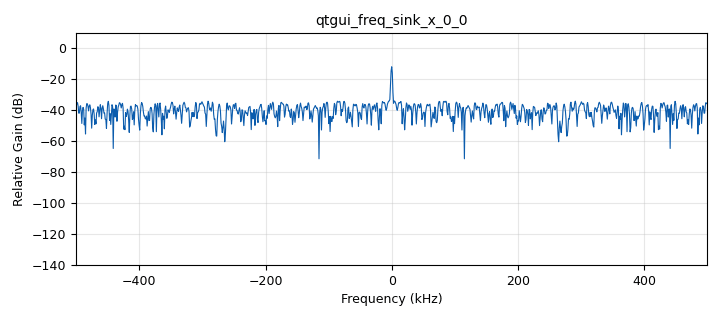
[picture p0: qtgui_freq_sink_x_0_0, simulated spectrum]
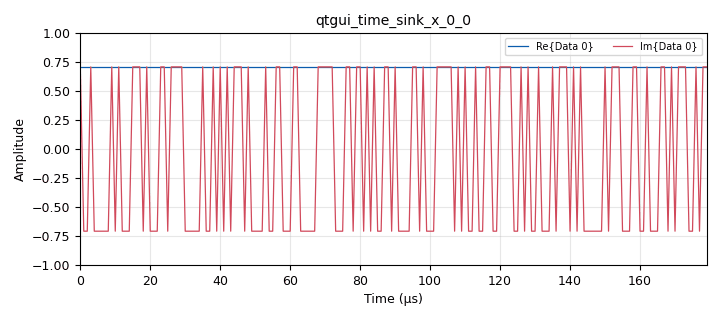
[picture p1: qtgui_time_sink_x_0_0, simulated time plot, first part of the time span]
<?xml version='1.0' encoding='utf-8'?>
<?grc format='1' created='3.7.10'?>
<flow_graph>
<block>
<key>options</key>
<param><key>id</key><value>top_block</value></param>
<param><key>generate_options</key><value>qt_gui</value></param>
</block>
<block>
<key>variable</key>
<param><key>id</key><value>centre_frequency</value></param>
<param><key>value</key><value>900e6</value></param>
</block>
<block>
<key>variable</key>
<param><key>id</key><value>samp_rate</value></param>
<param><key>value</key><value>1e6</value></param>
</block>
<block>
<key>digital_glfsr_source_x</key>
<param><key>id</key><value>digital_glfsr_source_x_0</value></param>
<param><key>degree</key><value>10</value></param>
<param><key>mask</key><value>0</value></param>
<param><key>repeat</key><value>True</value></param>
<param><key>seed</key><value>1</value></param>
<param><key>type</key><value>byte</value></param>
</block>
<block>
<key>dtv_dvbt2_modulator_bc</key>
<param><key>id</key><value>qpsk_dvbt2_modulator_bc_0</value></param>
<param><key>rotation</key><value>ROTATION_OFF</value></param>
<param><key>constellation</key><value>MOD_QPSK</value></param>
<param><key>framesize</key><value>FECFRAME_NORMAL</value></param>
</block>
<block>
<key>qtgui_freq_sink_x</key>
<param><key>id</key><value>qtgui_freq_sink_x_0</value></param>
<param><key>bw</key><value>samp_rate</value></param>
<param><key>fc</key><value>0</value></param>
<param><key>fftsize</key><value>1024</value></param>
<param><key>gui_hint</key><value>tab@1</value></param>
<param><key>showports</key><value>True</value></param>
<param><key>type</key><value>complex</value></param>
<param><key>wintype</key><value>firdes.WIN_BLACKMAN_hARRIS</value></param>
</block>
<block>
<key>qtgui_freq_sink_x</key>
<param><key>id</key><value>qtgui_freq_sink_x_0_0</value></param>
<param><key>bw</key><value>samp_rate</value></param>
<param><key>fc</key><value>0</value></param>
<param><key>fftsize</key><value>1024</value></param>
<param><key>gui_hint</key><value>tab0@1</value></param>
<param><key>showports</key><value>True</value></param>
<param><key>type</key><value>complex</value></param>
<param><key>wintype</key><value>firdes.WIN_BLACKMAN_hARRIS</value></param>
</block>
<block>
<key>qtgui_time_sink_x</key>
<param><key>id</key><value>qtgui_time_sink_x_0</value></param>
<param><key>gui_hint</key><value>tab@0</value></param>
<param><key>color1</key><value>"blue"</value></param>
<param><key>label1</key><value></value></param>
<param><key>color2</key><value>"red"</value></param>
<param><key>label2</key><value></value></param>
<param><key>size</key><value>1024</value></param>
<param><key>srate</key><value>samp_rate</value></param>
<param><key>type</key><value>complex</value></param>
</block>
<block>
<key>qtgui_time_sink_x</key>
<param><key>id</key><value>qtgui_time_sink_x_0_0</value></param>
<param><key>gui_hint</key><value>tab0@0</value></param>
<param><key>color1</key><value>"blue"</value></param>
<param><key>label1</key><value></value></param>
<param><key>color2</key><value>"red"</value></param>
<param><key>label2</key><value></value></param>
<param><key>size</key><value>1024</value></param>
<param><key>srate</key><value>samp_rate</value></param>
<param><key>type</key><value>complex</value></param>
</block>
<block>
<key>qtgui_tab_widget</key>
<param><key>id</key><value>tab</value></param>
<param><key>label0</key><value>RX time</value></param>
<param><key>label1</key><value>RX frequency</value></param>
<param><key>num_tabs</key><value>2</value></param>
</block>
<block>
<key>qtgui_tab_widget</key>
<param><key>id</key><value>tab0</value></param>
<param><key>label0</key><value>TX time</value></param>
<param><key>label1</key><value>TX frequency</value></param>
<param><key>num_tabs</key><value>2</value></param>
</block>
<block>
<key>uhd_usrp_sink</key>
<param><key>id</key><value>uhd_usrp_sink_0</value></param>
<param><key>ant0</key><value></value></param>
<param><key>center_freq0</key><value>centre_frequency</value></param>
<param><key>norm_gain0</key><value>False</value></param>
<param><key>gain0</key><value>0</value></param>
<param><key>clock_rate</key><value>0.0</value></param>
<param><key>dev_args</key><value>""</value></param>
<param><key>type</key><value>fc32</value></param>
<param><key>samp_rate</key><value>samp_rate</value></param>
<param><key>hide_cmd_port</key><value>False</value></param>
<param><key>hide_lo_controls</key><value>True</value></param>
<param><key>sync</key><value></value></param>
<param><key>len_tag_name</key><value></value></param>
</block>
<block>
<key>uhd_usrp_source</key>
<param><key>id</key><value>uhd_usrp_source_0</value></param>
<param><key>ant0</key><value>RX2</value></param>
<param><key>bw0</key><value>samp_rate</value></param>
<param><key>center_freq0</key><value>centre_frequency</value></param>
<param><key>dc_offs_enb0</key><value>""</value></param>
<param><key>iq_imbal_enb0</key><value>""</value></param>
<param><key>norm_gain0</key><value>False</value></param>
<param><key>gain0</key><value>0</value></param>
<param><key>clock_rate</key><value>0.0</value></param>
<param><key>dev_args</key><value>""</value></param>
<param><key>type</key><value>fc32</value></param>
<param><key>samp_rate</key><value>samp_rate</value></param>
<param><key>hide_cmd_port</key><value>False</value></param>
<param><key>hide_lo_controls</key><value>True</value></param>
<param><key>sync</key><value></value></param>
</block>
<connection><source_block_id>digital_glfsr_source_x_0</source_block_id><sink_block_id>qpsk_dvbt2_modulator_bc_0</sink_block_id><source_key>0</source_key><sink_key>0</sink_key></connection>
<connection><source_block_id>qpsk_dvbt2_modulator_bc_0</source_block_id><sink_block_id>qtgui_freq_sink_x_0_0</sink_block_id><source_key>0</source_key><sink_key>0</sink_key></connection>
<connection><source_block_id>qpsk_dvbt2_modulator_bc_0</source_block_id><sink_block_id>qtgui_time_sink_x_0_0</sink_block_id><source_key>0</source_key><sink_key>0</sink_key></connection>
<connection><source_block_id>qpsk_dvbt2_modulator_bc_0</source_block_id><sink_block_id>uhd_usrp_sink_0</sink_block_id><source_key>0</source_key><sink_key>0</sink_key></connection>
<connection><source_block_id>uhd_usrp_source_0</source_block_id><sink_block_id>qtgui_freq_sink_x_0</sink_block_id><source_key>0</source_key><sink_key>0</sink_key></connection>
<connection><source_block_id>uhd_usrp_source_0</source_block_id><sink_block_id>qtgui_time_sink_x_0</sink_block_id><source_key>0</source_key><sink_key>0</sink_key></connection>
</flow_graph>
